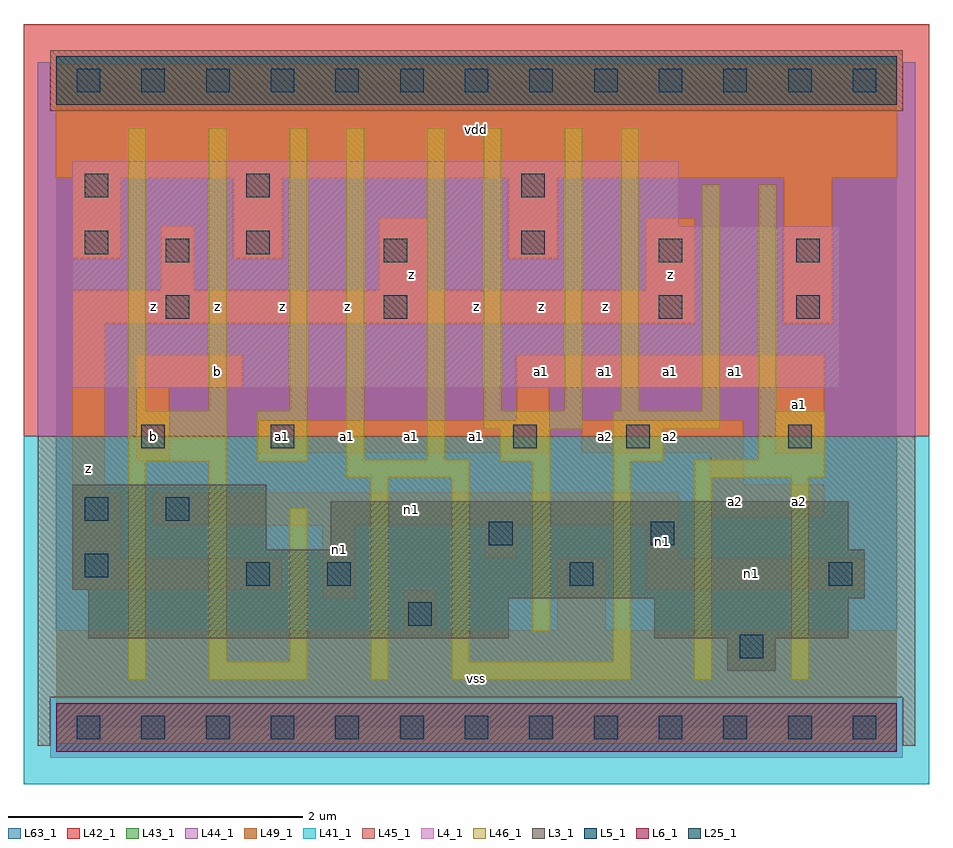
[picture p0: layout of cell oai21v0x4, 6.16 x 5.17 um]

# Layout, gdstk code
import gdstk
lib = gdstk.Library(unit=1e-6, precision=1e-09)
def R(c, l, rs):  # rectangles x0, y0, x1, y1
    for r in rs: c.add(gdstk.rectangle(r[:2], r[2:], *l))
def A(c, l, x, y, w, h, nx, ny, dx, dy):  # array of equal rectangles
    R(c, l, [(x+i*dx, y+j*dy, x+i*dx+w, y+j*dy+h) for i in range(nx) for j in range(ny)])
L3_1 = (3, 1)
L4_1 = (4, 1)
L5_1 = (5, 1)
L6_1 = (6, 1)
L25_1 = (25, 1)
L41_1 = (41, 1)
L42_1 = (42, 1)
L43_1 = (43, 1)
L44_1 = (44, 1)
L45_1 = (45, 1)
L46_1 = (46, 1)
L49_1 = (49, 1)
L63_1 = (63, 1)

oai21v0x4 = lib.new_cell('oai21v0x4')
R(oai21v0x4, L3_1, [(4.565,0.385,4.895,0.605), (0.22,0.605,3.08,0.88), (4.07,0.605,5.39,0.88), (0.22,0.88,5.5,0.935), (0.11,0.935,5.5,1.21), (0.11,1.21,1.43,1.65), (1.87,1.21,5.39,1.54)])
R(oai21v0x4, L4_1, [(0.11,2.31,5.335,3.41), (0.11,3.41,4.235,3.85)])
R(oai21v0x4, L5_1, [(0,4.235,5.72,4.565)])
R(oai21v0x4, L6_1, [(0,-0.165,5.72,0.165)])
A(oai21v0x4, L25_1, 0.14, -0.08, 0.16, 0.16, 13, 2, 0.44, 4.4)
R(oai21v0x4, L25_1, [(4.65,0.47,4.81,0.63), (2.395,0.69,2.555,0.85), (1.295,0.965,1.455,1.125), (1.845,0.965,2.005,1.125), (3.495,0.965,3.655,1.125), (5.255,0.965,5.415,1.125), (0.195,1.02,0.355,1.18), (2.945,1.24,3.105,1.4), (4.045,1.24,4.205,1.4), (0.195,1.405,0.355,1.565), (0.745,1.405,0.905,1.565), (0.58,1.9,0.74,2.06), (1.46,1.9,1.62,2.06), (3.11,1.9,3.27,2.06), (3.88,1.9,4.04,2.06), (4.98,1.9,5.14,2.06), (0.745,2.78,0.905,2.94), (2.23,2.78,2.39,2.94), (4.1,2.78,4.26,2.94), (5.035,2.78,5.195,2.94), (0.745,3.165,0.905,3.325), (2.23,3.165,2.39,3.325), (4.1,3.165,4.26,3.325), (5.035,3.165,5.195,3.325), (0.195,3.22,0.355,3.38), (1.295,3.22,1.455,3.38), (3.165,3.22,3.325,3.38), (0.195,3.605,0.355,3.765), (1.295,3.605,1.455,3.765), (3.165,3.605,3.325,3.765)])
R(oai21v0x4, L41_1, [(-0.22,-0.385,5.94,1.98)])
R(oai21v0x4, L42_1, [(-0.22,1.98,5.94,4.785)])
R(oai21v0x4, L43_1, [(0,-0.165,5.72,0.165), (4.565,0.385,4.895,0.605), (0.22,0.605,3.08,0.88), (4.07,0.605,5.39,0.88), (0.22,0.88,5.5,0.935), (0.11,0.935,5.5,1.21), (0.11,1.21,1.43,1.65), (1.87,1.21,5.39,1.54), (0.11,2.31,5.335,3.41), (0.11,3.41,4.235,3.85), (0,4.235,5.72,4.565)])
R(oai21v0x4, L44_1, [(-0.04,-0.205,5.76,0.205), (-0.125,1.98,5.845,4.195), (-0.125,4.195,-0.04,4.525), (5.76,4.195,5.845,4.525)])
R(oai21v0x4, L45_1, [(-0.125,-0.125,-0.04,0.205), (5.76,-0.125,5.845,0.205), (-0.125,0.205,5.845,1.98), (-0.04,4.195,5.76,4.605)])
A(oai21v0x4, L46_1, 0.49, 2.15, 0.12, 1.925, 3, 1, 0.55, 0)
R(oai21v0x4, L46_1, [(0.49,0.325,0.61,1.81), (1.04,0.325,1.71,0.445), (2.14,0.325,2.26,1.7), (2.69,0.325,3.91,0.445), (4.34,0.325,4.46,1.7), (5,0.325,5.12,1.7), (1.04,0.445,1.16,1.81), (1.59,0.445,1.71,1.49), (2.69,0.445,2.81,1.7), (3.79,0.445,3.91,1.81), (3.24,0.655,3.36,1.81), (1.975,1.7,2.81,1.82), (4.34,1.7,5.23,1.82), (0.49,1.81,1.16,2.15), (1.37,1.81,1.71,2.15), (3.02,1.81,3.36,2.03), (3.79,1.81,4.13,2.03), (1.975,1.82,2.095,4.075), (2.525,1.82,2.645,4.075), (4.78,1.82,5.23,2.15), (2.91,2.03,3.58,2.15), (3.79,2.03,4.515,2.15), (2.91,2.15,3.03,4.075), (3.46,2.15,3.58,4.075), (3.845,2.15,3.965,4.075), (4.395,2.15,4.515,3.69), (4.78,2.15,4.9,3.69)])
R(oai21v0x4, L49_1, [(0,-0.11,5.72,0.66), (2.365,0.66,2.585,0.935), (3.41,0.66,3.74,1.155), (1.815,0.88,2.035,1.375), (0.11,0.935,1.54,1.155), (4.015,0.935,5.5,1.155), (0.11,1.155,0.44,1.595), (2.915,1.155,3.135,1.375), (4.015,1.155,4.235,1.375), (0.66,1.375,4.235,1.595), (4.455,1.43,5.225,1.65), (0.11,1.595,0.33,2.75), (4.455,1.65,4.675,1.87), (0.55,1.815,0.77,2.31), (1.375,1.87,3.355,2.09), (3.575,1.87,4.675,2.09), (4.895,1.87,5.225,2.31), (3.135,2.09,3.355,2.31), (0.55,2.31,1.265,2.53), (3.135,2.31,5.225,2.53), (0.11,2.75,4.345,2.97), (4.95,2.75,5.28,3.74), (0.715,2.97,0.935,3.41), (2.2,2.97,2.53,3.465), (4.015,2.97,4.345,3.465), (0.11,3.19,0.44,3.74), (1.21,3.19,1.54,3.74), (3.08,3.19,3.41,3.74), (0,3.74,5.72,4.51)])
R(oai21v0x4, L63_1, [(0,0,5.72,4.4)])
oai21v0x4.add(gdstk.Label('z', (0.22,1.76), layer=49, texttype=1))
oai21v0x4.add(gdstk.Label('b', (0.66,1.98), layer=49, texttype=1))
oai21v0x4.add(gdstk.Label('z', (0.66,2.86), layer=49, texttype=1))
oai21v0x4.add(gdstk.Label('n1', (1.925,1.21), layer=49, texttype=1))
oai21v0x4.add(gdstk.Label('b', (1.1,2.42), layer=49, texttype=1))
oai21v0x4.add(gdstk.Label('a1', (1.54,1.98), layer=49, texttype=1))
oai21v0x4.add(gdstk.Label('a1', (1.98,1.98), layer=49, texttype=1))
oai21v0x4.add(gdstk.Label('z', (1.54,2.86), layer=49, texttype=1))
oai21v0x4.add(gdstk.Label('z', (1.98,2.86), layer=49, texttype=1))
oai21v0x4.add(gdstk.Label('z', (1.1,2.86), layer=49, texttype=1))
oai21v0x4.add(gdstk.Label('vss', (2.86,0.33), layer=49, texttype=1))
oai21v0x4.add(gdstk.Label('a1', (2.42,1.98), layer=49, texttype=1))
oai21v0x4.add(gdstk.Label('a1', (2.86,1.98), layer=49, texttype=1))
oai21v0x4.add(gdstk.Label('a1', (3.3,2.42), layer=49, texttype=1))
oai21v0x4.add(gdstk.Label('z', (2.86,2.86), layer=49, texttype=1))
oai21v0x4.add(gdstk.Label('z', (3.3,2.86), layer=49, texttype=1))
oai21v0x4.add(gdstk.Label('z', (2.42,3.08), layer=49, texttype=1))
oai21v0x4.add(gdstk.Label('vdd', (2.86,4.07), layer=49, texttype=1))
oai21v0x4.add(gdstk.Label('n1', (2.42,1.485), layer=49, texttype=1))
oai21v0x4.add(gdstk.Label('n1', (4.125,1.265), layer=49, texttype=1))
oai21v0x4.add(gdstk.Label('a2', (3.74,1.98), layer=49, texttype=1))
oai21v0x4.add(gdstk.Label('a1', (3.74,2.42), layer=49, texttype=1))
oai21v0x4.add(gdstk.Label('a2', (4.18,1.98), layer=49, texttype=1))
oai21v0x4.add(gdstk.Label('a1', (4.18,2.42), layer=49, texttype=1))
oai21v0x4.add(gdstk.Label('z', (3.74,2.86), layer=49, texttype=1))
oai21v0x4.add(gdstk.Label('z', (4.18,3.08), layer=49, texttype=1))
oai21v0x4.add(gdstk.Label('a2', (4.62,1.54), layer=49, texttype=1))
oai21v0x4.add(gdstk.Label('n1', (4.73,1.045), layer=49, texttype=1))
oai21v0x4.add(gdstk.Label('a2', (5.06,1.54), layer=49, texttype=1))
oai21v0x4.add(gdstk.Label('a1', (4.62,2.42), layer=49, texttype=1))
oai21v0x4.add(gdstk.Label('a1', (5.06,2.2), layer=49, texttype=1))

lib.write_gds('oai21v0x4.gds')
